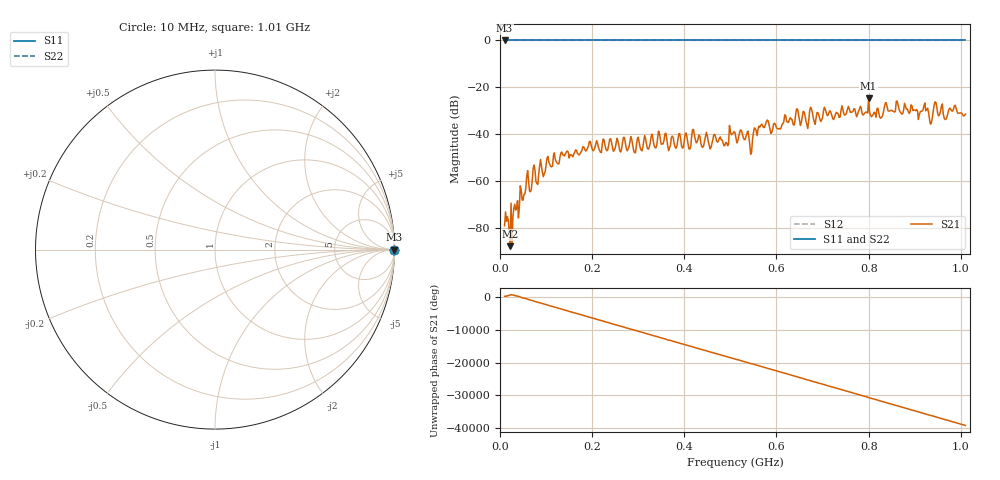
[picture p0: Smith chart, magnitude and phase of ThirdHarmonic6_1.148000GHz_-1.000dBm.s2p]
! 8/16/2025 11:22:10 AM
! C:\ANRITSUVNA\TEMP\TEMP.S2P
! CHANNEL.1
! TR.MEASUREMENT
! RAW.DATA
! RF.CORRECTION.OFF
! AVERAGING.OFF
! IF.BANDWIDTH: 5KHZ
! SWEEPTYPE:  FREQ.SWEEP(Linear)
! Reference Plane Port Info
! PORT:  PORT1  PORT2
! DISTANCE:  0  m  0  m
! TIME:  0  s  0  s
! PHASE.OFFSET:  0  deg.  0  deg.
! LOSS:  0  dB  0  dB
! REF.LOSS:  0  dB  0  dB
! REF.FREQ:  0  Hz  0  Hz
! Power Info
! POWER:  -20  dBm  -20  dBm
! EFF.POWER:  -20  dBm  -20  dBm
! SOURCE.ATTEN:  0  dB  0  dB
! TEST.ATTEN:  0  dB  0  dB
# GHZ S RI R 50.0
! FREQ.GHZ  S11RE  S11IM  S21RE  S21IM  S12RE  S12IM  S22RE  S22IM
!; PortSelection: Port_12
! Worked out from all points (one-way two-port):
!   501 points, 10 MHz to 1.01 GHz, reference 50 ohm
!   highest |S21| = -24.63 dB at 800 MHz (marker M1); lowest = -87.8 dB at 22 MHz (marker M2)
!   lowest |S11| = 0.0 dB at 10 MHz (marker M3)
!   |S11| at or under -10 dB: nowhere
!   |S22| runs from 0.0 to 0.0 dB; largest |S21 - S12| = 1
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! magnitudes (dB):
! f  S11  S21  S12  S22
! 10 MHz  0.0  -79.1  0.0  0.0
! 22 MHz  0.0  -87.8  0.0  0.0
! 74 MHz  0.0  -53.2  0.0  0.0
! 80 MHz  0.0  -61.0  0.0  0.0
! 178 MHz  0.0  -46.8  0.0  0.0
! 270 MHz  0.0  -41.4  0.0  0.0
! 292 MHz  0.0  -47.9  0.0  0.0
! 344 MHz  0.0  -38.7  0.0  0.0
! 410 MHz  0.0  -46.3  0.0  0.0
! 420 MHz  0.0  -38.1  0.0  0.0
! 456 MHz  0.0  -46.3  0.0  0.0
! 510 MHz  0.0  -39.3  0.0  0.0
! 536 MHz  0.0  -39.5  0.0  0.0
! 544 MHz  0.0  -48.6  0.0  0.0
! 566 MHz  0.0  -36.2  0.0  0.0
! 606 MHz  0.0  -37.6  0.0  0.0
! 644 MHz  0.0  -29.1  0.0  0.0
! 666 MHz  0.0  -36.0  0.0  0.0
! 678 MHz  0.0  -30.8  0.0  0.0
! 800 MHz  0.0  -24.6  0.0  0.0
! 844 MHz  0.0  -30.2  0.0  0.0
! 1.01 GHz  0.0  -31.5  0.0  0.0
